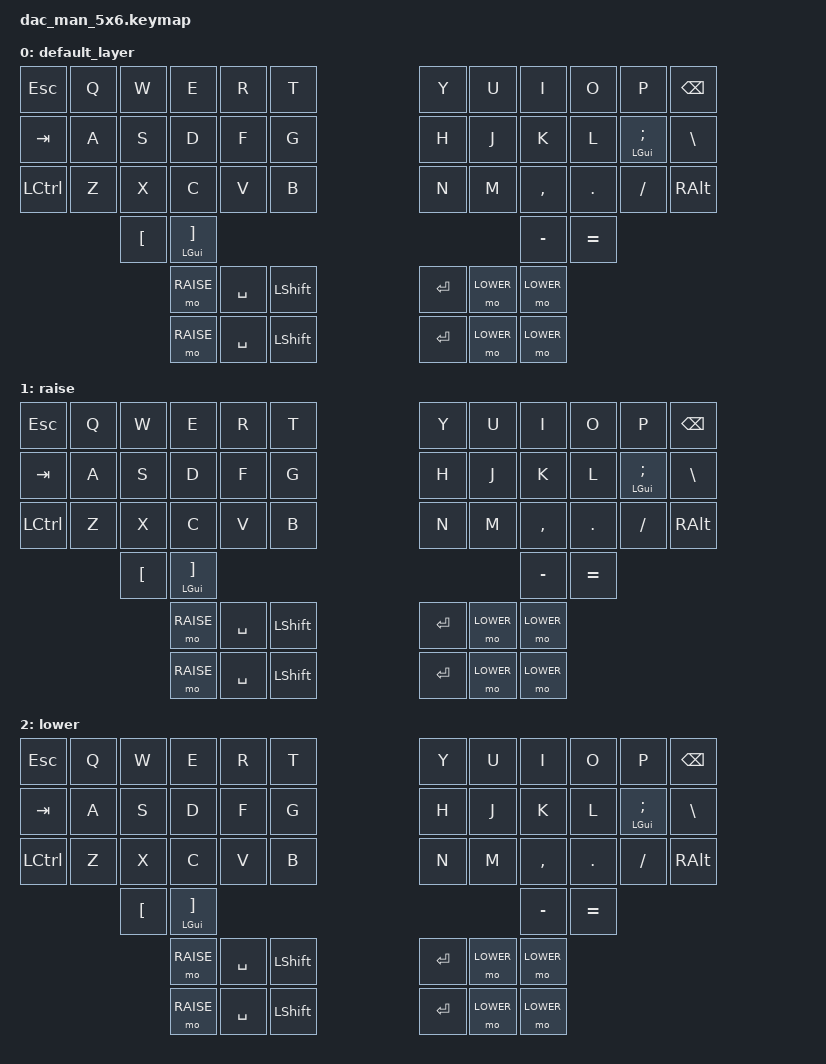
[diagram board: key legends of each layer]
#include <behaviors.dtsi>
#include <dt-bindings/zmk/keys.h>
#include <dt-bindings/zmk/bt.h>

#define DEFAULT 0
#define RAISE   1
#define LOWER   2

/ {
    keymap {
        compatible = "zmk,keymap";

        default_layer {
// Commented layout is not actual layout.
// -------------------------------------------------------------------------------------------------------------------------
// |   ESC   |    N    |    D    |    P    |    L    |    (    |                   |    )    |    T    |    J    |    Q    |    U    |    BSPC    |
// |   TAB   |    R    |    S    |    H    |    W    |    B    |                   |    E    |    O    |    Y    |    G    |    F    |    DEL     |
// |  LCTRL  |    Z    |    X    |    C    |    V    |    !    |                   |    ?    |    A    |    I    |    K    |    M    |   ENTER    |
//                     |    "    |    '    |                                                           |    ,    |    .    |
//                               | MO lay 1| SPACE   | SPACE   |                   | ENTER   | MO lay 2| MO lay 2|
//                               |   TAB   |   HOME  |    ~    |                   |   END   |   DEL   | MO lay 2|
            bindings = <

&kp ESC    &kp Q      &kp W     &kp E      &kp R      &kp T                           &kp Y      &kp U      &kp I      &kp O      &kp P          &kp BKSP
&kp TAB    &kp A      &kp S     &kp D      &kp F      &kp G                           &kp H      &kp J      &kp K      &kp L      &mt LGUI SEMI  &kp BSLH
&kp LCTRL  &kp Z      &kp X     &kp C      &kp V      &kp B                           &kp N      &kp M      &kp COMMA  &kp DOT    &kp FSLH       &kp RALT
                      &kp LBKT  &mt LGUI RBKT                                                               &kp MINUS  &kp EQUAL
                             &mo RAISE  &kp SPACE &kp LSHIFT                           &kp ENTER   &mo LOWER    &mo LOWER
                             &mo RAISE  &kp SPACE &kp LSHIFT                           &kp ENTER   &mo LOWER    &mo LOWER
            >;
        };

        raise {
// Commented layout is not actual layout.
// -------------------------------------------------------------------------------------------------------------------------
// |   ESC   |    Q    |    W    |    E    |    R    |    T    |                   |    Y    |    U    |    I    |    O    |    P    |    BSPC    |
// |   TAB   |    A    |    S    |    D    |    F    |    G    |                   |    H    |    J    |    K    |    L    |    ;    |    '    |
// |  LCTRL  |    Z    |    X    |    C    |    V    |    B    |                   |    N    |    M    |    ,    |    .    |    /    |  RALT   |
//                     |    [    |    ]    |                                                           |    -    |    =    |
//                               | MO lay 1| SPACE   | SPACE   |                   | ENTER   | MO lay 2| MO lay 2|
//                               |   TAB   |   HOME  |    ~    |                   |   END   |   DEL   | MO lay 2|
            bindings = <

&kp ESC    &kp Q      &kp W     &kp E      &kp R      &kp T                           &kp Y      &kp U      &kp I      &kp O      &kp P          &kp BKSP
&kp TAB    &kp A      &kp S     &kp D      &kp F      &kp G                           &kp H      &kp J      &kp K      &kp L      &mt LGUI SEMI  &kp BSLH
&kp LCTRL  &kp Z      &kp X     &kp C      &kp V      &kp B                           &kp N      &kp M      &kp COMMA  &kp DOT    &kp FSLH       &kp RALT
                      &kp LBKT  &mt LGUI RBKT                                                               &kp MINUS  &kp EQUAL
                             &mo RAISE  &kp SPACE &kp LSHIFT                           &kp ENTER   &mo LOWER    &mo LOWER
                             &mo RAISE  &kp SPACE &kp LSHIFT                           &kp ENTER   &mo LOWER    &mo LOWER
            >;
        };

        lower {
// Commented layout is not actual layout.
// -------------------------------------------------------------------------------------------------------------------------
// |   ESC   |    Q    |    W    |    E    |    R    |    T    |                   |    Y    |    U    |    I    |    O    |    P    |    BSPC    |
// |   TAB   |    A    |    S    |    D    |    F    |    G    |                   |    H    |    J    |    K    |    L    |    ;    |    '    |
// |  LCTRL  |    Z    |    X    |    C    |    V    |    B    |                   |    N    |    M    |    ,    |    .    |    /    |  RALT   |
//                     |    [    |    ]    |                                                           |    -    |    =    |
//                               | MO lay 1| SPACE   | SPACE   |                   | ENTER   | MO lay 2| MO lay 2|
//                               |   TAB   |   HOME  |    ~    |                   |   END   |   DEL   | MO lay 2|
            bindings = <

&kp ESC    &kp Q      &kp W     &kp E      &kp R      &kp T                           &kp Y      &kp U      &kp I      &kp O      &kp P          &kp BKSP
&kp TAB    &kp A      &kp S     &kp D      &kp F      &kp G                           &kp H      &kp J      &kp K      &kp L      &mt LGUI SEMI  &kp BSLH
&kp LCTRL  &kp Z      &kp X     &kp C      &kp V      &kp B                           &kp N      &kp M      &kp COMMA  &kp DOT    &kp FSLH       &kp RALT
                      &kp LBKT  &mt LGUI RBKT                                                               &kp MINUS  &kp EQUAL
                             &mo RAISE  &kp SPACE &kp LSHIFT                           &kp ENTER   &mo LOWER    &mo LOWER
                             &mo RAISE  &kp SPACE &kp LSHIFT                           &kp ENTER   &mo LOWER    &mo LOWER
            >;
        };
   };
};
